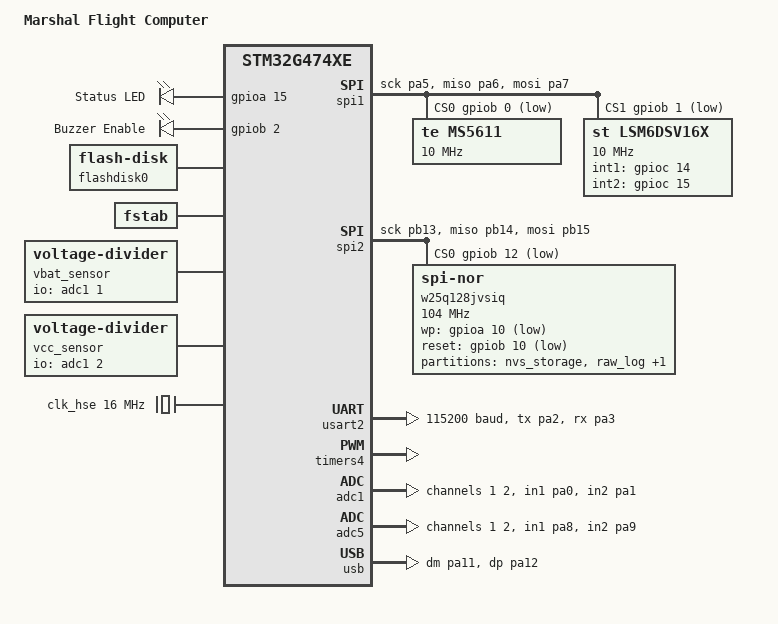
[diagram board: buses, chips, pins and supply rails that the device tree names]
/dts-v1/;

#include <st/g4/stm32g474Xe.dtsi>
#include <st/g4/stm32g474c(b-c-e)tx-pinctrl.dtsi>
#include <zephyr/dt-bindings/adc/adc.h>
#include <zephyr/dt-bindings/pwm/pwm.h>
#include <zephyr/dt-bindings/sensor/lsm6dsv16x.h>

/ {
	model = "Marshal Flight Computer";
	compatible = "wildwest,marshal";

	chosen {
		zephyr,console = &cdc_acm_uart0;
		zephyr,shell-uart = &cdc_acm_uart0;
		zephyr,sram = &sram0;
		zephyr,flash = &flash0;

		zephyr,settings-partition = &nvs_partition;
	};

	leds {
		compatible = "gpio-leds";

		led0: led_0 {
			gpios = <&gpioa 15 GPIO_ACTIVE_HIGH>;
			label = "Status LED";
		};

		buzzer: buzzer {
			gpios = <&gpiob 2 GPIO_ACTIVE_HIGH>;
			label = "Buzzer Enable";
		};
	};

	pyro: pyro {
		stm_ch1_en: stm_ch1_en {
			gpios = <&gpiob 9 GPIO_ACTIVE_HIGH>;
			label = "STM-CH1-EN";
		};

		stm_ch2_en: stm_ch2_en {
			gpios = <&gpiob 7 GPIO_ACTIVE_HIGH>;
			label = "STM-CH2-EN";
		};

		flt1: flt1 {
			gpios = <&gpioc 13 GPIO_ACTIVE_LOW>;
			label = "FLT1";
		};

		flt2: flt2 {
			gpios = <&gpioa 4 GPIO_ACTIVE_LOW>;
			label = "FLT2";
		};
	};

	buzzer_pwm: buzzer_pwm {
		pwms = <&pwm4 4 PWM_HZ(2000) PWM_POLARITY_NORMAL>;
	};

	flashdisk0: flashdisk0 {
		compatible = "zephyr,flash-disk";
		partition = <&fat_partition>;
		disk-name = "marshal";
		cache-size = <4096>;
		status = "okay";
	};

	fstab {
		compatible = "zephyr,fstab";

		fatfs0: fatfs0 {
			compatible = "zephyr,fstab,fatfs";
			disk-access;
			mount-point = "/export";
		};
	};

	vbat_sensor: vbat_sensor {
		compatible = "voltage-divider";
		io-channels = <&adc1 1>;
		output-ohms = <22000>;
		full-ohms = <222000>;
	};

	vcc_sensor: vcc_sensor {
		compatible = "voltage-divider";
		io-channels = <&adc1 2>;
		output-ohms = <68000>;
		full-ohms = <168000>;
	};

	aliases {
		led = &led0;
		buzzer = &buzzer;
		barometer = &ms5611;
		imu = &lsm6dsv16x;
		dbg-uart = &usart2;
		stm-ch1-en = &stm_ch1_en;
		stm-ch2-en = &stm_ch2_en;
		flt1 = &flt1;
		flt2 = &flt2;
		pyro1-ilm = &pyro1_ilm;
		pyro2-ilm = &pyro2_ilm;
		vbat-sense = &vbat_sense;
		v3v3-sense = &v3v3_sense;
		buzzer-pwm = &buzzer_pwm;
		vbat-sensor = &vbat_sensor;
		vcc-sensor = &vcc_sensor;
		fat-disk = &flashdisk0;
		fatfs0 = &fatfs0;
	};
};

&clk_hse {
	clock-frequency = <DT_FREQ_M(16)>;
	status = "okay";
};

&clk_hsi48 {
	status = "okay";
};

//&crs {
//    clocks = <&clk_hsi48>;
//    clock-frequency = <DT_FREQ_M(48)>;
//    sync-src = <STM32_CRS_SYNC_SRC_USB>;
//    status = "okay";
//};

//&clk_hsi {
//    clock-frequency = <DT_FREQ_M(16)>;
//    status = "okay";
//};

&pll {
    div-m = <2>;
    mul-n = <20>;
    div-p = <2>;
    div-q = <2>;
    div-r = <2>;
    clocks = <&clk_hse>;
    status = "okay";
};

&rcc {
    clocks = <&pll>;
    clock-frequency = <DT_FREQ_M(80)>;
    ahb-prescaler = <1>;
    apb1-prescaler = <1>;
    apb2-prescaler = <1>;
};

&ucpd1 {
	psc-ucpdclk = <1>;
	hbitclkdiv = <27>;
	pinctrl-0 = <&ucpd1_cc1_pb6 &ucpd1_cc2_pb4>;
	pinctrl-names = "default";
	status = "disabled";
};


&spi1 {
	pinctrl-0 = <&spi1_sck_pa5 &spi1_miso_pa6 &spi1_mosi_pa7>;
	pinctrl-names = "default";
	cs-gpios = <&gpiob 0 (GPIO_ACTIVE_LOW | GPIO_PULL_UP)>,
		   <&gpiob 1 (GPIO_ACTIVE_LOW | GPIO_PULL_UP)>;
	status = "okay";

	ms5611: ms5611@0 {
		compatible = "te,ms5611";
		reg = <0>;
		spi-max-frequency = <DT_FREQ_M(10)>;
		status = "okay";
	};

	lsm6dsv16x: lsm6dsv16x@1 {
		compatible = "st,lsm6dsv16x";
		reg = <1>;
		spi-max-frequency = <DT_FREQ_M(10)>;

		accel-odr = <LSM6DSVXXX_DT_ODR_AT_240Hz>;
    	gyro-odr = <LSM6DSVXXX_DT_ODR_AT_240Hz>;

		drdy-pin = <1>;
		drdy-pulsed;

		int1-gpios = <&gpioc 14 GPIO_ACTIVE_HIGH>;
		int2-gpios = <&gpioc 15 GPIO_ACTIVE_HIGH>;

		status = "okay";
	};
};

&spi2 {
	pinctrl-0 = <&spi2_sck_pb13 &spi2_miso_pb14 &spi2_mosi_pb15>;
	pinctrl-names = "default";
	cs-gpios = <&gpiob 12 (GPIO_ACTIVE_LOW | GPIO_PULL_UP)>;
	status = "okay";

	w25q128jvsiq: spi-nor-flash@0 {
		compatible = "jedec,spi-nor";
		reg = <0>;
		spi-max-frequency = <DT_FREQ_M(104)>;
		size = <DT_SIZE_M(128)>;
        jedec-id = [ef 40 18];

		wp-gpios = <&gpioa 10 GPIO_ACTIVE_LOW>;
		reset-gpios = <&gpiob 10 GPIO_ACTIVE_LOW>;
		status = "okay";

		partitions {
			compatible = "fixed-partitions";
			#address-cells = <1>;
			#size-cells = <1>;

			// 16 KB for configs
			nvs_partition: partition@0 {
				label = "nvs_storage";
				reg = <0x00000000 0x4000>;
			};

			// 12 MB for flight critical logging
			raw_partition: partition@4000 {
				label = "raw_log";
				reg = <0x00004000 0xBFC000>;
			};

			// 4 MB for exporting over FAT
			fat_partition: partition@C00000 {
				label = "fat_export";
				reg = <0x00C00000 0x400000>;
			};
		};
	};
};

&usart2 {
	pinctrl-0 = <&usart2_tx_pa2 &usart2_rx_pa3>;
	pinctrl-names = "default";
	current-speed = <115200>;
	status = "okay";
};

&timers4 {
	status = "okay";

	pwm4: pwm {
		status = "okay";
		pinctrl-0 = <&tim4_ch4_pb9>;
		pinctrl-names = "default";
	};
};

&adc1 {
	pinctrl-0 = <&adc1_in1_pa0 &adc1_in2_pa1>;
	pinctrl-names = "default";
	st,adc-clock-source = "SYNC";
	st,adc-prescaler = <4>;
	status = "okay";

	#address-cells = <1>;
	#size-cells = <0>;

	vbat_sense: channel@1 {
		reg = <1>;
		zephyr,gain = "ADC_GAIN_1";
		zephyr,reference = "ADC_REF_INTERNAL";
		zephyr,acquisition-time = <ADC_ACQ_TIME_DEFAULT>;
		zephyr,resolution = <12>;
		zephyr,vref-mv = <3300>;
	};

	v3v3_sense: channel@2 {
		reg = <2>;
		zephyr,gain = "ADC_GAIN_1";
		zephyr,reference = "ADC_REF_INTERNAL";
		zephyr,acquisition-time = <ADC_ACQ_TIME_DEFAULT>;
		zephyr,resolution = <12>;
		zephyr,vref-mv = <3300>;
	};
};

&adc5 {
	pinctrl-0 = <&adc5_in1_pa8 &adc5_in2_pa9>;
	pinctrl-names = "default";
	st,adc-clock-source = "SYNC";
	st,adc-prescaler = <4>;
	status = "okay";

	#address-cells = <1>;
	#size-cells = <0>;

	pyro1_ilm: channel@1 {
		reg = <1>;
		zephyr,gain = "ADC_GAIN_1";
		zephyr,reference = "ADC_REF_INTERNAL";
		zephyr,acquisition-time = <ADC_ACQ_TIME_DEFAULT>;
		zephyr,resolution = <12>;
		zephyr,vref-mv = <3300>;
	};

	pyro2_ilm: channel@2 {
		reg = <2>;
		zephyr,gain = "ADC_GAIN_1";
		zephyr,reference = "ADC_REF_INTERNAL";
		zephyr,acquisition-time = <ADC_ACQ_TIME_DEFAULT>;
		zephyr,resolution = <12>;
		zephyr,vref-mv = <3300>;
	};
};

zephyr_udc0: &usb {
	pinctrl-0 = <&usb_dm_pa11 &usb_dp_pa12>;
	pinctrl-names = "default";
	status = "okay";

	cdc_acm_uart0: cdc_acm_uart0 {
		compatible = "zephyr,cdc-acm-uart";
	};
};
